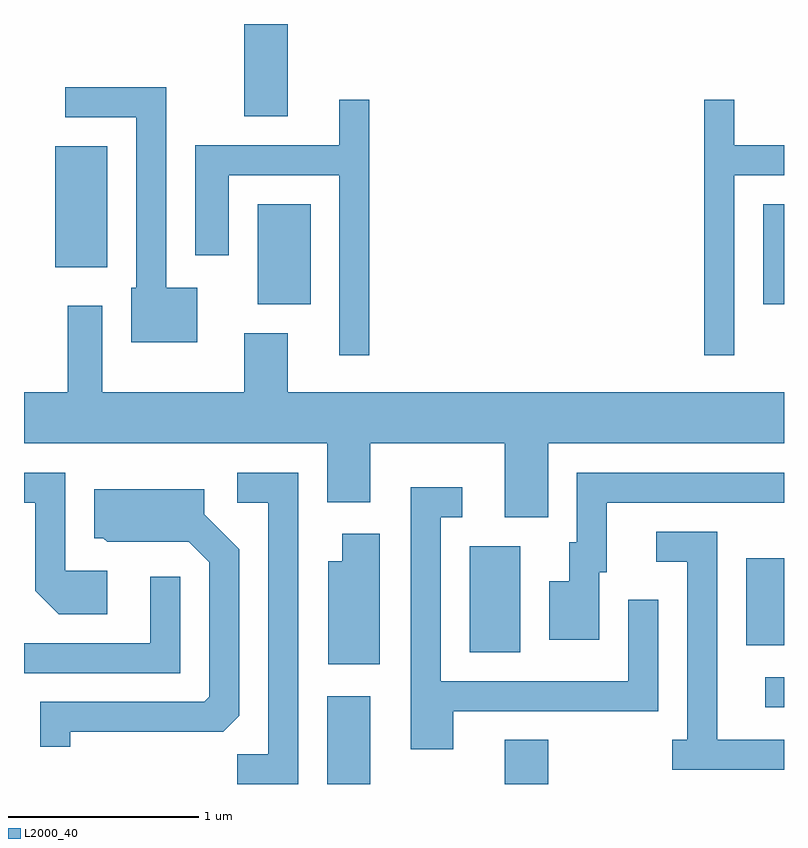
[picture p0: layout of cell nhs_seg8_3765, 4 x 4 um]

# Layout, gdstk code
import gdstk
lib = gdstk.Library(unit=1e-6, precision=1e-09)
def R(c, l, rs):  # rectangles x0, y0, x1, y1
    for r in rs: c.add(gdstk.rectangle(r[:2], r[2:], *l))
def P(c, l, *ps):  # polygons
    for p in ps: c.add(gdstk.Polygon(p, *l))
L2000_40 = (2000, 40)

nhs_seg8_3765 = lib.new_cell('nhs_seg8_3765')
R(nhs_seg8_3765, L2000_40, [(299.206,1892.342,299.434,1892.804), (300.141,1892.342,300.369,1892.574), (301.513,1892.746,301.611,1892.904), (299.956,1893.036,300.224,1893.594), (301.411,1893.071,301.611,1893.529), (298.841,1894.866,299.119,1895.394), (301.501,1894.866,301.611,1895.394), (297.776,1895.061,298.049,1895.699), (298.771,1895.856,298.999,1896.342)])
P(nhs_seg8_3765, L2000_40, [(298.524,1894.954),(298.359,1894.954),(298.359,1896.009),(297.828,1896.009),(297.828,1895.851),(298.201,1895.851),(298.201,1894.954),(298.176,1894.954),(298.176,1894.666),(298.524,1894.666)],
  [(299.429,1895.943),(299.271,1895.943),(299.271,1895.704),(298.511,1895.704),(298.511,1895.126),(298.689,1895.126),(298.689,1895.546),(299.271,1895.546),(299.271,1894.598),(299.429,1894.598)],
  [(301.349,1895.546),(301.611,1895.546),(301.611,1895.704),(301.349,1895.704),(301.349,1895.943),(301.191,1895.943),(301.191,1894.598),(301.349,1894.598)],
  [(300.369,1894.136),(301.611,1894.136),(301.611,1894.404),(298.999,1894.404),(298.999,1894.714),(298.771,1894.714),(298.771,1894.404),(298.024,1894.404),(298.024,1894.859),(297.841,1894.859),(297.841,1894.404),(297.611,1894.404),(297.611,1894.136),(299.206,1894.136),(299.206,1893.826),(299.434,1893.826),(299.434,1894.136),(300.141,1894.136),(300.141,1893.746),(300.369,1893.746)],
  [(299.054,1893.979),(298.733,1893.979),(298.733,1893.821),(298.896,1893.821),(298.896,1892.499),(298.733,1892.499),(298.733,1892.342),(299.054,1892.342)],
  [(300.639,1893.456),(300.679,1893.456),(300.679,1893.821),(301.611,1893.821),(301.611,1893.979),(300.521,1893.979),(300.521,1893.614),(300.481,1893.614),(300.481,1893.409),(300.376,1893.409),(300.376,1893.101),(300.639,1893.101)],
  [(298.049,1893.464),(297.829,1893.464),(297.829,1893.979),(297.611,1893.979),(297.611,1893.821),(297.671,1893.821),(297.671,1893.359),(297.794,1893.236),(298.049,1893.236)],
  [(299.869,1892.726),(300.949,1892.726),(300.949,1893.313),(300.791,1893.313),(300.791,1892.884),(299.804,1892.884),(299.804,1893.746),(299.918,1893.746),(299.918,1893.904),(299.646,1893.904),(299.646,1892.526),(299.869,1892.526)],
  [(297.854,1892.616),(298.659,1892.616),(298.744,1892.702),(298.744,1893.577),(298.559,1893.762),(298.559,1893.894),(297.981,1893.894),(297.981,1893.636),(298.029,1893.636),(298.049,1893.616),(298.479,1893.616),(298.586,1893.509),(298.586,1892.802),(298.559,1892.774),(297.696,1892.774),(297.696,1892.538),(297.854,1892.538)],
  [(301.611,1892.574),(301.259,1892.574),(301.259,1893.669),(300.938,1893.669),(300.938,1893.511),(301.101,1893.511),(301.101,1892.574),(301.023,1892.574),(301.023,1892.416),(301.611,1892.416)],
  [(299.484,1893.659),(299.286,1893.659),(299.286,1893.514),(299.211,1893.514),(299.211,1892.971),(299.484,1892.971)],
  [(298.434,1893.433),(298.276,1893.433),(298.276,1893.084),(297.611,1893.084),(297.611,1892.926),(298.434,1892.926)])

lib.write_gds('nhs_seg8_3765.gds')
